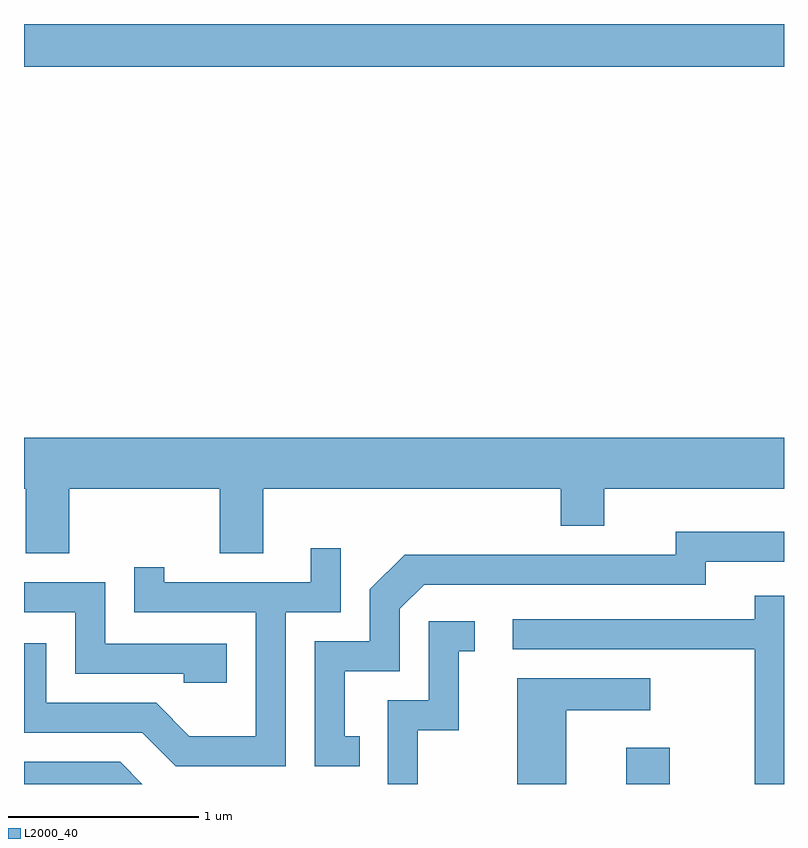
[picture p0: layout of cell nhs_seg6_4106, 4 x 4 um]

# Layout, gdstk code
import gdstk
lib = gdstk.Library(unit=1e-6, precision=1e-09)
def R(c, l, rs):  # rectangles x0, y0, x1, y1
    for r in rs: c.add(gdstk.rectangle(r[:2], r[2:], *l))
def P(c, l, *ps):  # polygons
    for p in ps: c.add(gdstk.Polygon(p, *l))
L2000_40 = (2000, 40)

nhs_seg6_4106 = lib.new_cell('nhs_seg6_4106')
R(nhs_seg6_4106, L2000_40, [(312.781,1646.162,313.009,1646.354), (309.611,1649.936,313.611,1650.162)])
P(nhs_seg6_4106, L2000_40, [(309.849,1647.716),(310.641,1647.716),(310.641,1647.376),(310.869,1647.376),(310.869,1647.716),(312.436,1647.716),(312.436,1647.521),(312.664,1647.521),(312.664,1647.716),(313.611,1647.716),(313.611,1647.984),(309.611,1647.984),(309.611,1647.716),(309.621,1647.716),(309.621,1647.376),(309.849,1647.376)],
  [(311.378,1646.414),(311.299,1646.414),(311.299,1646.756),(311.589,1646.756),(311.589,1647.084),(311.717,1647.211),(313.199,1647.211),(313.199,1647.331),(313.611,1647.331),(313.611,1647.489),(313.041,1647.489),(313.041,1647.369),(311.614,1647.369),(311.431,1647.187),(311.431,1646.914),(311.141,1646.914),(311.141,1646.256),(311.378,1646.256)],
  [(310.989,1647.066),(311.279,1647.066),(311.279,1647.403),(311.121,1647.403),(311.121,1647.224),(310.349,1647.224),(310.349,1647.303),(310.191,1647.303),(310.191,1647.066),(310.831,1647.066),(310.831,1646.414),(310.482,1646.414),(310.307,1646.589),(309.729,1646.589),(309.729,1646.904),(309.611,1646.904),(309.611,1646.431),(310.234,1646.431),(310.409,1646.256),(310.989,1646.256)],
  [(310.679,1646.899),(310.039,1646.899),(310.039,1647.224),(309.611,1647.224),(309.611,1647.066),(309.881,1647.066),(309.881,1646.741),(310.451,1646.741),(310.451,1646.696),(310.679,1646.696)],
  [(313.611,1647.153),(313.456,1647.153),(313.456,1647.029),(312.183,1647.029),(312.183,1646.871),(313.456,1646.871),(313.456,1646.162),(313.611,1646.162)],
  [(311.684,1646.446),(311.899,1646.446),(311.899,1646.861),(311.983,1646.861),(311.983,1647.019),(311.741,1647.019),(311.741,1646.604),(311.526,1646.604),(311.526,1646.162),(311.684,1646.162)],
  [(312.464,1646.551),(312.908,1646.551),(312.908,1646.719),(312.206,1646.719),(312.206,1646.162),(312.464,1646.162)],
  [(310.117,1646.279),(309.611,1646.279),(309.611,1646.162),(310.234,1646.162)])

lib.write_gds('nhs_seg6_4106.gds')
